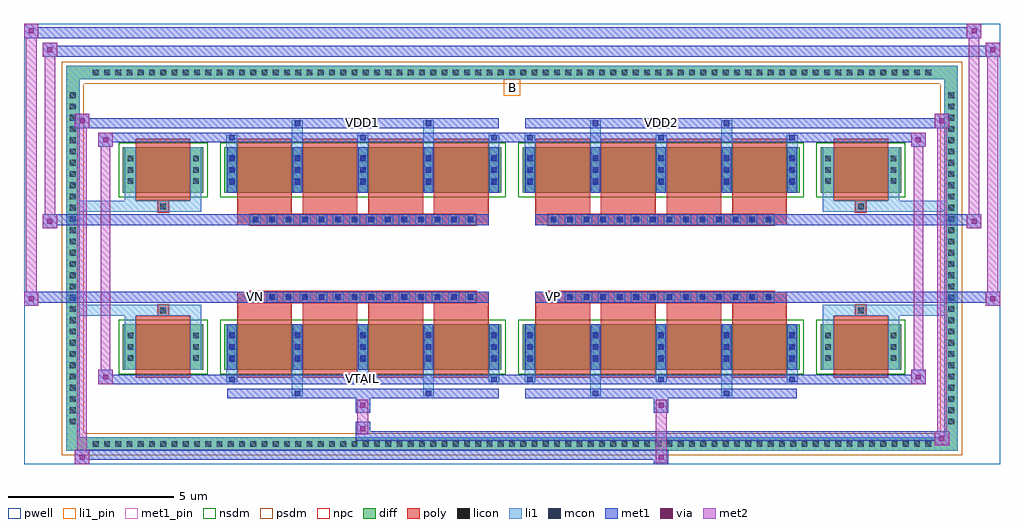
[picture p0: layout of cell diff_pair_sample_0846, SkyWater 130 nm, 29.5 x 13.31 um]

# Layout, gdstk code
import gdstk
lib = gdstk.Library(unit=1e-6, precision=5e-09)
def R(c, l, rs):  # rectangles x0, y0, x1, y1
    for r in rs: c.add(gdstk.rectangle(r[:2], r[2:], *l))
def A(c, l, x, y, w, h, nx, ny, dx, dy):  # array of equal rectangles
    R(c, l, [(x+i*dx, y+j*dy, x+i*dx+w, y+j*dy+h) for i in range(nx) for j in range(ny)])
def P(c, l, *ps):  # polygons
    for p in ps: c.add(gdstk.Polygon(p, *l))
pwell = (64, 44)
diff = (65, 20)
poly = (66, 20)
licon = (66, 44)
li1_pin = (67, 16)
li1 = (67, 20)
mcon = (67, 44)
met1_pin = (68, 16)
met1 = (68, 20)
via = (68, 44)
met2 = (69, 20)
nsdm = (93, 44)
psdm = (94, 20)
npc = (95, 20)

diff_pair_sample_0846 = lib.new_cell('diff_pair_sample_0846')
R(diff_pair_sample_0846, pwell, [(-14.75,-6.22,14.75,7.09), (-12.07,-4.41,-0.01,-0.805), (0.01,-4.41,12.07,-0.805), (-12.07,0.805,-0.01,4.41), (0.01,0.805,12.07,4.41)])
A(diff_pair_sample_0846, diff, -12.785, -5.82, 0.41, 0.41, 75, 2, 0.34, 11.23)
A(diff_pair_sample_0846, diff, -13.48, -5.135, 0.41, 0.41, 1, 30, 0, 0.34)
A(diff_pair_sample_0846, diff, 13.07, -5.135, 0.41, 0.41, 1, 30, 0, 0.34)
R(diff_pair_sample_0846, diff, [(-12.785,-5.82,12.785,-5.41), (-13.48,-5.135,-13.07,5.135), (13.07,-5.135,13.48,5.135), (-11.76,-3.365,-9.33,-1.985), (-8.69,-3.365,-0.32,-1.985), (0.32,-3.365,8.69,-1.985), (9.33,-3.365,11.76,-1.985), (-11.76,1.985,-9.33,3.365), (-8.69,1.985,-0.32,3.365), (0.32,1.985,8.69,3.365), (9.33,1.985,11.76,3.365), (-12.785,5.41,12.785,5.82)])
P(diff_pair_sample_0846, diff, [(13.48,5.82),(-13.48,5.82),(-13.48,-5.41),(-13.07,-5.41),(-13.07,5.41),(13.07,5.41),(13.07,-5.41),(-13.07,-5.41),(-13.48,-5.41),(-13.48,-5.82),(13.48,-5.82)])
A(diff_pair_sample_0846, poly, -8.3, -3.615, 1.65, 1.88, 4, 2, 1.98, 5.35)
A(diff_pair_sample_0846, poly, 0.71, -3.615, 1.65, 1.88, 4, 2, 1.98, 5.35)
A(diff_pair_sample_0846, poly, -8.3, -1.735, 1.65, 0.4, 4, 2, 1.98, 3.07)
A(diff_pair_sample_0846, poly, 0.71, -1.735, 1.65, 0.4, 4, 2, 1.98, 3.07)
A(diff_pair_sample_0846, poly, -7.92, -1.335, 0.33, 0.33, 14, 2, 0.5, 2.34)
A(diff_pair_sample_0846, poly, 1.09, -1.335, 0.33, 0.33, 14, 2, 0.5, 2.34)
R(diff_pair_sample_0846, poly, [(-11.37,-3.615,-9.72,-1.735), (9.72,-3.615,11.37,-1.735), (-10.71,-1.735,-10.38,-1.405), (-10.71,-1.735,-10.38,-1.405), (10.38,-1.735,10.71,-1.405), (10.38,-1.735,10.71,-1.405), (-8.3,-1.335,-0.71,-1.005), (0.71,-1.335,8.3,-1.005), (-8.3,1.005,-0.71,1.335), (0.71,1.005,8.3,1.335), (-10.71,1.405,-10.38,1.735), (-10.71,1.405,-10.38,1.735), (10.38,1.405,10.71,1.735), (10.38,1.405,10.71,1.735), (-11.37,1.735,-9.72,3.615), (9.72,1.735,11.37,3.615)])
A(diff_pair_sample_0846, licon, -12.665, -5.7, 0.17, 0.17, 75, 2, 0.34, 11.23)
A(diff_pair_sample_0846, licon, -13.36, -5.015, 0.17, 0.17, 1, 30, 0, 0.34)
A(diff_pair_sample_0846, licon, 13.19, -5.015, 0.17, 0.17, 1, 30, 0, 0.34)
A(diff_pair_sample_0846, licon, -11.62, -3.1, 0.17, 0.17, 1, 3, 0, 0.34)
A(diff_pair_sample_0846, licon, -9.64, -3.1, 0.17, 0.17, 1, 3, 0, 0.34)
A(diff_pair_sample_0846, licon, -8.55, -3.1, 0.17, 0.17, 5, 3, 1.98, 0.34)
A(diff_pair_sample_0846, licon, 0.46, -3.1, 0.17, 0.17, 5, 3, 1.98, 0.34)
A(diff_pair_sample_0846, licon, 9.47, -3.1, 0.17, 0.17, 1, 3, 0, 0.34)
A(diff_pair_sample_0846, licon, 11.45, -3.1, 0.17, 0.17, 1, 3, 0, 0.34)
A(diff_pair_sample_0846, licon, -7.84, -1.255, 0.17, 0.17, 14, 2, 0.5, 2.34)
A(diff_pair_sample_0846, licon, 1.17, -1.255, 0.17, 0.17, 14, 2, 0.5, 2.34)
A(diff_pair_sample_0846, licon, -11.62, 2.25, 0.17, 0.17, 1, 3, 0, 0.34)
A(diff_pair_sample_0846, licon, -9.64, 2.25, 0.17, 0.17, 1, 3, 0, 0.34)
A(diff_pair_sample_0846, licon, -8.55, 2.25, 0.17, 0.17, 5, 3, 1.98, 0.34)
A(diff_pair_sample_0846, licon, 0.46, 2.25, 0.17, 0.17, 5, 3, 1.98, 0.34)
A(diff_pair_sample_0846, licon, 9.47, 2.25, 0.17, 0.17, 1, 3, 0, 0.34)
A(diff_pair_sample_0846, licon, 11.45, 2.25, 0.17, 0.17, 1, 3, 0, 0.34)
R(diff_pair_sample_0846, licon, [(-10.63,-1.655,-10.46,-1.485), (10.46,-1.655,10.63,-1.485), (-10.63,1.485,-10.46,1.655), (10.46,1.485,10.63,1.655)])
R(diff_pair_sample_0846, li1_pin, [(-0.25,4.91,0.25,5.41)])
A(diff_pair_sample_0846, li1, -12.745, -5.78, 0.33, 0.33, 75, 2, 0.34, 11.23)
A(diff_pair_sample_0846, li1, -13.44, -5.095, 0.33, 0.33, 1, 30, 0, 0.34)
A(diff_pair_sample_0846, li1, 13.11, -5.095, 0.33, 0.33, 1, 30, 0, 0.34)
A(diff_pair_sample_0846, li1, -8.63, -3.74, 0.33, 0.375, 3, 2, 3.96, 7.105)
A(diff_pair_sample_0846, li1, -8.55, -3.74, 0.17, 0.17, 3, 2, 3.96, 7.31)
A(diff_pair_sample_0846, li1, 0.38, -3.74, 0.33, 0.375, 3, 2, 3.96, 7.105)
A(diff_pair_sample_0846, li1, 0.46, -3.74, 0.17, 0.17, 3, 2, 3.96, 7.31)
A(diff_pair_sample_0846, li1, -8.63, -3.365, 0.33, 1.38, 5, 2, 1.98, 5.35)
A(diff_pair_sample_0846, li1, 0.38, -3.365, 0.33, 1.38, 5, 2, 1.98, 5.35)
A(diff_pair_sample_0846, li1, -11.7, -3.18, 0.33, 0.33, 1, 3, 0, 0.34)
A(diff_pair_sample_0846, li1, -9.72, -3.18, 0.33, 0.33, 1, 3, 0, 0.34)
A(diff_pair_sample_0846, li1, -8.63, -3.18, 0.33, 0.33, 5, 3, 1.98, 0.34)
A(diff_pair_sample_0846, li1, 0.38, -3.18, 0.33, 0.33, 5, 3, 1.98, 0.34)
A(diff_pair_sample_0846, li1, 9.39, -3.18, 0.33, 0.33, 1, 3, 0, 0.34)
A(diff_pair_sample_0846, li1, 11.37, -3.18, 0.33, 0.33, 1, 3, 0, 0.34)
A(diff_pair_sample_0846, li1, -8.55, -3.12, 0.17, 0.17, 5, 3, 1.98, 0.36)
A(diff_pair_sample_0846, li1, -8.55, -3.12, 0.17, 0.89, 5, 2, 1.98, 5.35)
A(diff_pair_sample_0846, li1, 0.46, -3.12, 0.17, 0.17, 5, 3, 1.98, 0.36)
A(diff_pair_sample_0846, li1, 0.46, -3.12, 0.17, 0.89, 5, 2, 1.98, 5.35)
A(diff_pair_sample_0846, li1, -7.92, -1.335, 0.33, 0.33, 14, 2, 0.5, 2.34)
A(diff_pair_sample_0846, li1, 1.09, -1.335, 0.33, 0.33, 14, 2, 0.5, 2.34)
A(diff_pair_sample_0846, li1, -11.7, 2.17, 0.33, 0.33, 1, 3, 0, 0.34)
A(diff_pair_sample_0846, li1, -9.72, 2.17, 0.33, 0.33, 1, 3, 0, 0.34)
A(diff_pair_sample_0846, li1, -8.63, 2.17, 0.33, 0.33, 5, 3, 1.98, 0.34)
A(diff_pair_sample_0846, li1, 0.38, 2.17, 0.33, 0.33, 5, 3, 1.98, 0.34)
A(diff_pair_sample_0846, li1, 9.39, 2.17, 0.33, 0.33, 1, 3, 0, 0.34)
A(diff_pair_sample_0846, li1, 11.37, 2.17, 0.33, 0.33, 1, 3, 0, 0.34)
A(diff_pair_sample_0846, li1, -8.55, 2.23, 0.17, 0.17, 5, 3, 1.98, 0.36)
A(diff_pair_sample_0846, li1, 0.46, 2.23, 0.17, 0.17, 5, 3, 1.98, 0.36)
R(diff_pair_sample_0846, li1, [(-13.48,-5.82,-13.07,-5.41), (-13.48,-5.82,-13.07,-5.41), (-13.07,-5.82,13.07,-5.41), (13.07,-5.82,13.48,-5.41), (13.07,-5.82,13.48,-5.41), (-13.48,-5.41,-13.07,5.41), (13.07,-5.41,13.48,5.41), (-6.65,-4.17,-6.32,-3.365), (-6.57,-4.17,-6.4,-4), (-2.69,-4.17,-2.36,-3.365), (-2.61,-4.17,-2.44,-4), (2.36,-4.17,2.69,-3.365), (2.44,-4.17,2.61,-4), (6.32,-4.17,6.65,-3.365), (6.4,-4.17,6.57,-4), (-11.7,-3.365,-11.37,-1.985), (-9.72,-3.365,-9.39,-1.985), (9.39,-3.365,9.72,-1.985), (11.37,-3.365,11.7,-1.985), (-11.7,-1.985,-11.37,-1.405), (-9.72,-1.985,-9.39,-1.405), (9.39,-1.985,9.72,-1.405), (11.37,-1.985,11.7,-1.405), (-13.48,-1.735,-10.71,-1.405), (-11.7,-1.735,-10.71,-1.405), (-10.71,-1.735,-10.38,-1.405), (-10.38,-1.735,-9.39,-1.405), (9.39,-1.735,10.38,-1.405), (10.38,-1.735,10.71,-1.405), (10.38,-1.735,13.48,-1.405), (10.71,-1.735,11.7,-1.405), (-13.48,1.405,-10.71,1.735), (-11.7,1.405,-10.71,1.735), (-11.7,1.405,-11.37,1.985), (-10.71,1.405,-10.38,1.735), (-10.38,1.405,-9.39,1.735), (-9.72,1.405,-9.39,1.985), (9.39,1.405,10.38,1.735), (9.39,1.405,9.72,1.985), (10.38,1.405,10.71,1.735), (10.38,1.405,13.48,1.735), (10.71,1.405,11.7,1.735), (11.37,1.405,11.7,1.985), (-11.7,1.985,-11.37,3.365), (-9.72,1.985,-9.39,3.365), (9.39,1.985,9.72,3.365), (11.37,1.985,11.7,3.365), (-6.65,3.365,-6.32,4.17), (-2.69,3.365,-2.36,4.17), (2.36,3.365,2.69,4.17), (6.32,3.365,6.65,4.17), (-6.57,4,-6.4,4.17), (-2.61,4,-2.44,4.17), (2.44,4,2.61,4.17), (6.4,4,6.57,4.17), (-13.48,5.41,-13.07,5.82), (-13.48,5.41,-13.07,5.82), (-13.07,5.41,13.07,5.82), (13.07,5.41,13.48,5.82), (13.07,5.41,13.48,5.82)])
A(diff_pair_sample_0846, mcon, -8.55, -3.74, 0.17, 0.17, 3, 2, 3.96, 7.31)
A(diff_pair_sample_0846, mcon, 0.46, -3.74, 0.17, 0.17, 3, 2, 3.96, 7.31)
A(diff_pair_sample_0846, mcon, -8.55, -3.12, 0.17, 0.17, 5, 3, 1.98, 0.36)
A(diff_pair_sample_0846, mcon, 0.46, -3.12, 0.17, 0.17, 5, 3, 1.98, 0.36)
A(diff_pair_sample_0846, mcon, -7.84, -1.255, 0.17, 0.17, 14, 2, 0.5, 2.34)
A(diff_pair_sample_0846, mcon, 1.17, -1.255, 0.17, 0.17, 14, 2, 0.5, 2.34)
A(diff_pair_sample_0846, mcon, -8.55, 2.23, 0.17, 0.17, 5, 3, 1.98, 0.36)
A(diff_pair_sample_0846, mcon, 0.46, 2.23, 0.17, 0.17, 5, 3, 1.98, 0.36)
R(diff_pair_sample_0846, mcon, [(-6.57,-4.17,-6.4,-4), (-2.61,-4.17,-2.44,-4), (2.44,-4.17,2.61,-4), (6.4,-4.17,6.57,-4), (-6.57,4,-6.4,4.17), (-2.61,4,-2.44,4.17), (2.44,4,2.61,4.17), (6.4,4,6.57,4.17)])
R(diff_pair_sample_0846, met1_pin, [(-4.64,-3.78,-4.37,-3.51), (-7.89,-1.295,-7.62,-1.025), (1.12,-1.295,1.39,-1.025), (-4.64,3.96,-4.37,4.23), (4.37,3.96,4.64,4.23)])
A(diff_pair_sample_0846, met1, -8.61, -3.8, 0.29, 0.29, 3, 2, 3.96, 7.31)
A(diff_pair_sample_0846, met1, 0.4, -3.8, 0.29, 0.29, 3, 2, 3.96, 7.31)
A(diff_pair_sample_0846, met1, -8.61, -3.365, 0.29, 1.38, 5, 2, 1.98, 5.35)
A(diff_pair_sample_0846, met1, 0.4, -3.365, 0.29, 1.38, 5, 2, 1.98, 5.35)
A(diff_pair_sample_0846, met1, -8.61, -3.18, 0.29, 0.29, 5, 3, 1.98, 0.36)
A(diff_pair_sample_0846, met1, 0.4, -3.18, 0.29, 0.29, 5, 3, 1.98, 0.36)
A(diff_pair_sample_0846, met1, -7.9, -1.315, 0.29, 0.29, 14, 2, 0.5, 2.34)
A(diff_pair_sample_0846, met1, 1.11, -1.315, 0.29, 0.29, 14, 2, 0.5, 2.34)
A(diff_pair_sample_0846, met1, -8.61, 2.17, 0.29, 0.29, 5, 3, 1.98, 0.36)
A(diff_pair_sample_0846, met1, 0.4, 2.17, 0.29, 0.29, 5, 3, 1.98, 0.36)
R(diff_pair_sample_0846, met1, [(-13.21,-6.22,-12.78,-5.79), (4.29,-6.22,4.72,-5.79), (-13.21,-6.08,4.72,-5.79), (12.78,-5.65,13.21,-5.22), (-4.72,-5.51,13.21,-5.22), (-4.72,-5.37,-4.29,-4.94), (-4.72,-4.66,-4.29,-4.23), (4.29,-4.66,4.72,-4.23), (-8.61,-4.23,-0.4,-3.94), (-6.63,-4.23,-6.34,-3.94), (-2.67,-4.23,-2.38,-3.94), (0.4,-4.23,8.61,-3.94), (2.38,-4.23,2.67,-3.94), (6.34,-4.23,6.63,-3.94), (-12.5,-3.8,-12.07,-3.37), (-12.5,-3.8,-8.61,-3.51), (-8.61,-3.8,-0.4,-3.51), (-0.4,-3.8,0.4,-3.51), (0.4,-3.8,8.61,-3.51), (8.61,-3.8,12.5,-3.51), (12.07,-3.8,12.5,-3.37), (-14.75,-1.435,-14.32,-1.005), (14.32,-1.435,14.75,-1.005), (-14.75,-1.335,-0.71,-1.005), (-8.3,-1.335,-0.71,-1.005), (0.71,-1.335,8.3,-1.005), (0.71,-1.335,14.75,-1.005), (-14.18,0.905,-13.75,1.335), (13.75,0.905,14.18,1.335), (-14.18,1.005,-8.3,1.335), (-8.3,1.005,-0.71,1.335), (0.71,1.005,8.3,1.335), (8.3,1.005,14.18,1.335), (-12.5,3.37,-12.07,3.8), (12.07,3.37,12.5,3.8), (-12.5,3.51,-8.61,3.8), (-8.61,3.51,-0.4,3.8), (-0.4,3.51,0.4,3.8), (0.4,3.51,8.61,3.8), (8.61,3.51,12.5,3.8), (-13.21,3.94,-12.78,4.37), (-13.21,3.94,-8.61,4.23), (-8.61,3.94,-0.4,4.23), (-6.63,3.94,-6.34,4.23), (-2.67,3.94,-2.38,4.23), (0.4,3.94,8.61,4.23), (2.38,3.94,2.67,4.23), (6.34,3.94,6.63,4.23), (8.61,3.94,13.21,4.23), (12.78,3.94,13.21,4.37), (-14.18,6.09,-13.75,6.52), (-14.18,6.09,-12.07,6.42), (-12.07,6.09,12.07,6.42), (12.07,6.09,14.75,6.42), (14.32,6.09,14.75,6.52), (-14.75,6.66,-14.32,7.09), (-14.75,6.66,-12.07,6.99), (-12.07,6.66,12.07,6.99), (12.07,6.66,14.18,6.99), (13.75,6.66,14.18,7.09)])
R(diff_pair_sample_0846, via, [(-13.07,-6.08,-12.92,-5.93), (4.43,-6.08,4.58,-5.93), (12.92,-5.51,13.07,-5.36), (-4.58,-5.23,-4.43,-5.08), (-4.58,-4.52,-4.43,-4.37), (4.43,-4.52,4.58,-4.37), (-12.36,-3.66,-12.21,-3.51), (12.21,-3.66,12.36,-3.51), (-14.61,-1.295,-14.46,-1.145), (14.46,-1.295,14.61,-1.145), (-14.04,1.045,-13.89,1.195), (13.89,1.045,14.04,1.195), (-12.36,3.51,-12.21,3.66), (12.21,3.51,12.36,3.66), (-13.07,4.08,-12.92,4.23), (12.92,4.08,13.07,4.23), (-14.04,6.23,-13.89,6.38), (14.46,6.23,14.61,6.38), (-14.61,6.8,-14.46,6.95), (13.89,6.8,14.04,6.95)])
R(diff_pair_sample_0846, met2, [(-13.21,-6.22,-12.78,-5.79), (-13.14,-6.22,-12.85,4.37), (-12.85,-6.22,-12.78,-5.79), (-13.16,-6.17,-12.83,-5.84), (4.34,-6.17,4.67,-5.84), (4.34,-5.84,4.67,-4.61), (12.78,-5.65,13.21,-5.22), (12.85,-5.65,13.14,4.37), (13.14,-5.65,13.21,-5.22), (12.83,-5.6,13.16,-5.27), (-4.67,-5.32,-4.34,-4.99), (-4.67,-4.99,-4.34,-4.61), (-4.67,-4.61,-4.34,-4.28), (4.34,-4.61,4.67,-4.28), (-12.5,-3.8,-12.07,-3.37), (-12.43,-3.8,-12.14,3.8), (-12.14,-3.8,-12.07,-3.37), (12.07,-3.8,12.5,-3.37), (12.14,-3.8,12.43,3.8), (12.43,-3.8,12.5,-3.37), (-12.45,-3.75,-12.12,-3.42), (12.12,-3.75,12.45,-3.42), (-14.75,-1.435,-14.32,-1.005), (-14.7,-1.435,-14.37,7.09), (-14.37,-1.435,-14.32,-1.005), (14.32,-1.435,14.75,-1.005), (14.37,-1.435,14.7,6.52), (14.7,-1.435,14.75,-1.005), (-14.7,-1.385,-14.37,-1.055), (14.37,-1.385,14.7,-1.055), (-14.18,0.905,-13.75,1.335), (-14.13,0.905,-13.8,6.52), (-13.8,0.905,-13.75,1.335), (13.75,0.905,14.18,1.335), (13.8,0.905,14.13,7.09), (14.13,0.905,14.18,1.335), (-14.13,0.955,-13.8,1.285), (13.8,0.955,14.13,1.285), (-12.5,3.37,-12.07,3.8), (-12.14,3.37,-12.07,3.8), (12.07,3.37,12.5,3.8), (12.43,3.37,12.5,3.8), (-12.45,3.42,-12.12,3.75), (12.12,3.42,12.45,3.75), (-13.21,3.94,-12.78,4.37), (-12.85,3.94,-12.78,4.37), (12.78,3.94,13.21,4.37), (13.14,3.94,13.21,4.37), (-13.16,3.99,-12.83,4.32), (12.83,3.99,13.16,4.32), (-14.18,6.09,-13.75,6.52), (-13.8,6.09,-13.75,6.52), (14.32,6.09,14.75,6.52), (14.7,6.09,14.75,6.52), (-14.13,6.14,-13.8,6.47), (14.37,6.14,14.7,6.47), (-14.75,6.66,-14.32,7.09), (-14.37,6.66,-14.32,7.09), (13.75,6.66,14.18,7.09), (14.13,6.66,14.18,7.09), (-14.7,6.71,-14.37,7.04), (13.8,6.71,14.13,7.04)])
R(diff_pair_sample_0846, nsdm, [(-11.89,-3.495,-9.2,-1.855), (-8.82,-3.495,-0.19,-1.855), (0.19,-3.495,8.82,-1.855), (9.2,-3.495,11.89,-1.855), (-11.89,1.855,-9.2,3.495), (-8.82,1.855,-0.19,3.495), (0.19,1.855,8.82,3.495), (9.2,1.855,11.89,3.495)])
P(diff_pair_sample_0846, psdm, [(13.61,5.95),(-13.61,5.95),(-13.61,-5.28),(-12.94,-5.28),(-12.94,5.28),(12.94,5.28),(12.94,-5.28),(-12.94,-5.28),(-13.61,-5.28),(-13.61,-5.95),(13.61,-5.95)])
A(diff_pair_sample_0846, npc, -7.94, -1.355, 0.37, 0.37, 14, 2, 0.5, 2.34)
A(diff_pair_sample_0846, npc, 1.07, -1.355, 0.37, 0.37, 14, 2, 0.5, 2.34)
R(diff_pair_sample_0846, npc, [(-10.73,-1.755,-10.36,-1.385), (10.36,-1.755,10.73,-1.385), (-7.94,-1.355,-7.07,-0.985), (-7.94,-1.355,-7.07,-0.985), (-7.44,-1.355,-6.57,-0.985), (-7.44,-1.355,-6.57,-0.985), (-6.94,-1.355,-6.07,-0.985), (-6.94,-1.355,-6.07,-0.985), (-6.44,-1.355,-5.57,-0.985), (-6.44,-1.355,-5.57,-0.985), (-5.94,-1.355,-5.07,-0.985), (-5.94,-1.355,-5.07,-0.985), (-5.44,-1.355,-4.57,-0.985), (-5.44,-1.355,-4.57,-0.985), (-4.94,-1.355,-4.07,-0.985), (-4.94,-1.355,-4.07,-0.985), (-4.44,-1.355,-3.57,-0.985), (-4.44,-1.355,-3.57,-0.985), (-3.94,-1.355,-3.07,-0.985), (-3.94,-1.355,-3.07,-0.985), (-3.44,-1.355,-2.57,-0.985), (-3.44,-1.355,-2.57,-0.985), (-2.94,-1.355,-2.07,-0.985), (-2.94,-1.355,-2.07,-0.985), (-2.44,-1.355,-1.57,-0.985), (-2.44,-1.355,-1.57,-0.985), (-1.94,-1.355,-1.07,-0.985), (-1.94,-1.355,-1.07,-0.985), (1.07,-1.355,1.94,-0.985), (1.07,-1.355,1.94,-0.985), (1.57,-1.355,2.44,-0.985), (1.57,-1.355,2.44,-0.985), (2.07,-1.355,2.94,-0.985), (2.07,-1.355,2.94,-0.985), (2.57,-1.355,3.44,-0.985), (2.57,-1.355,3.44,-0.985), (3.07,-1.355,3.94,-0.985), (3.07,-1.355,3.94,-0.985), (3.57,-1.355,4.44,-0.985), (3.57,-1.355,4.44,-0.985), (4.07,-1.355,4.94,-0.985), (4.07,-1.355,4.94,-0.985), (4.57,-1.355,5.44,-0.985), (4.57,-1.355,5.44,-0.985), (5.07,-1.355,5.94,-0.985), (5.07,-1.355,5.94,-0.985), (5.57,-1.355,6.44,-0.985), (5.57,-1.355,6.44,-0.985), (6.07,-1.355,6.94,-0.985), (6.07,-1.355,6.94,-0.985), (6.57,-1.355,7.44,-0.985), (6.57,-1.355,7.44,-0.985), (7.07,-1.355,7.94,-0.985), (7.07,-1.355,7.94,-0.985), (-7.94,0.985,-7.07,1.355), (-7.94,0.985,-7.07,1.355), (-7.44,0.985,-6.57,1.355), (-7.44,0.985,-6.57,1.355), (-6.94,0.985,-6.07,1.355), (-6.94,0.985,-6.07,1.355), (-6.44,0.985,-5.57,1.355), (-6.44,0.985,-5.57,1.355), (-5.94,0.985,-5.07,1.355), (-5.94,0.985,-5.07,1.355), (-5.44,0.985,-4.57,1.355), (-5.44,0.985,-4.57,1.355), (-4.94,0.985,-4.07,1.355), (-4.94,0.985,-4.07,1.355), (-4.44,0.985,-3.57,1.355), (-4.44,0.985,-3.57,1.355), (-3.94,0.985,-3.07,1.355), (-3.94,0.985,-3.07,1.355), (-3.44,0.985,-2.57,1.355), (-3.44,0.985,-2.57,1.355), (-2.94,0.985,-2.07,1.355), (-2.94,0.985,-2.07,1.355), (-2.44,0.985,-1.57,1.355), (-2.44,0.985,-1.57,1.355), (-1.94,0.985,-1.07,1.355), (-1.94,0.985,-1.07,1.355), (1.07,0.985,1.94,1.355), (1.07,0.985,1.94,1.355), (1.57,0.985,2.44,1.355), (1.57,0.985,2.44,1.355), (2.07,0.985,2.94,1.355), (2.07,0.985,2.94,1.355), (2.57,0.985,3.44,1.355), (2.57,0.985,3.44,1.355), (3.07,0.985,3.94,1.355), (3.07,0.985,3.94,1.355), (3.57,0.985,4.44,1.355), (3.57,0.985,4.44,1.355), (4.07,0.985,4.94,1.355), (4.07,0.985,4.94,1.355), (4.57,0.985,5.44,1.355), (4.57,0.985,5.44,1.355), (5.07,0.985,5.94,1.355), (5.07,0.985,5.94,1.355), (5.57,0.985,6.44,1.355), (5.57,0.985,6.44,1.355), (6.07,0.985,6.94,1.355), (6.07,0.985,6.94,1.355), (6.57,0.985,7.44,1.355), (6.57,0.985,7.44,1.355), (7.07,0.985,7.94,1.355), (7.07,0.985,7.94,1.355), (-10.73,1.385,-10.36,1.755), (10.36,1.385,10.73,1.755)])
diff_pair_sample_0846.add(gdstk.Label('VTAIL', (-4.505,-3.645), layer=68, texttype=5))
diff_pair_sample_0846.add(gdstk.Label('VN', (-7.755,-1.16), layer=68, texttype=5))
diff_pair_sample_0846.add(gdstk.Label('VP', (1.255,-1.16), layer=68, texttype=5))
diff_pair_sample_0846.add(gdstk.Label('B', (0,5.16), layer=67, texttype=5))
diff_pair_sample_0846.add(gdstk.Label('VDD2', (4.505,4.095), layer=68, texttype=5))
diff_pair_sample_0846.add(gdstk.Label('VDD1', (-4.505,4.095), layer=68, texttype=5))

lib.write_gds('diff_pair_sample_0846.gds')
